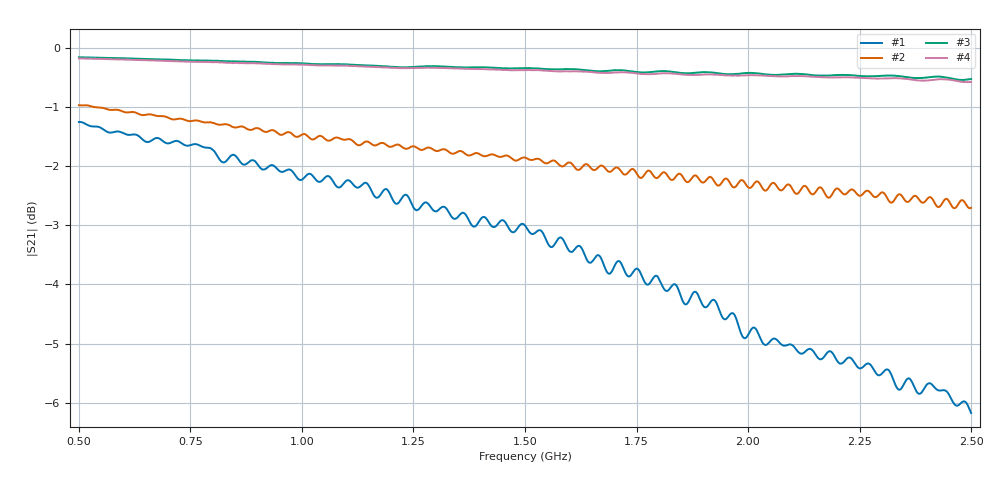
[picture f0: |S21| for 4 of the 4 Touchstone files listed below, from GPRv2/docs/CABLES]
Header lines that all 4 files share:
!Agilent N9923A: A.05.17
!Model: N9923A
!Serial: MY50371189
!Correction: S11(ON Q)S21(ON Q)S12(ON Q)S22(ON Q)
!S2P File: Measurements:S11,S21,S12,S22:
# Hz S DB R 50
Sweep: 500 MHz to 2.5 GHz
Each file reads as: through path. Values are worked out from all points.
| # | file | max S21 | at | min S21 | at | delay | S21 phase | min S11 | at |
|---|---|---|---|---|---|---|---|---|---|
| 1 | RG58_2m6.s2p | -1.25 dB | 502.5 MHz | -6.2 dB | 2.5 GHz | 11.7 ns | 158 deg at 1.5 GHz | -46.6 dB | 590 MHz |
| 2 | RG58_3m.s2p | -0.97 dB | 500 MHz | -2.7 dB | 2.498 GHz | 14.3 ns | -179 deg at 1.5 GHz | -49.9 dB | 935 MHz |
| 3 | RG213_A_1m.s2p | -0.16 dB | 500 MHz | -0.5 dB | 2.482 GHz | 4.98 ns | -172 deg at 1.5 GHz | -56.4 dB | 1.712 GHz |
| 4 | RG213_B_1m.s2p | -0.18 dB | 500 MHz | -0.6 dB | 2.495 GHz | 4.97 ns | -167 deg at 1.5 GHz | -59.3 dB | 1.525 GHz |
